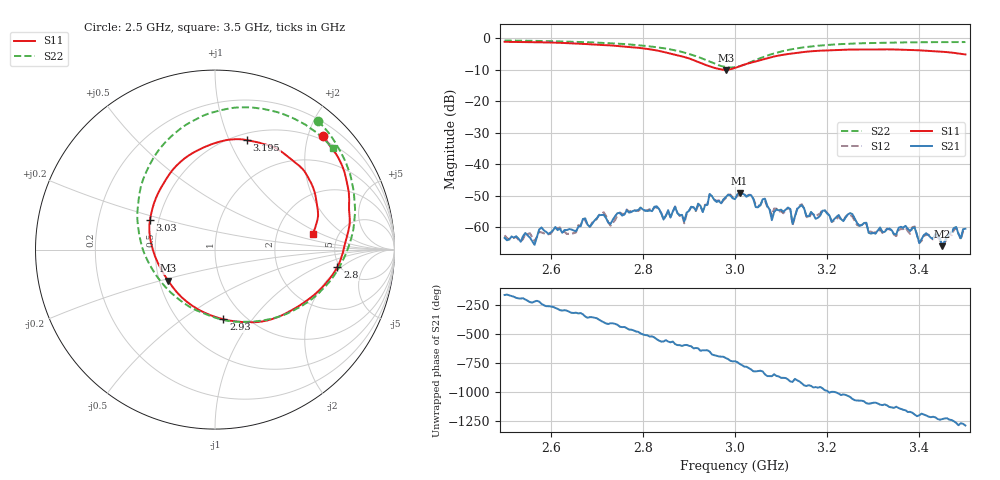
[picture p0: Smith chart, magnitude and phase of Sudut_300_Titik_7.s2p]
# Hz S RI R 50
! CMT, C1220, 16058040, 17.2.0/1
! Date: 15/08/2018 10:11:17
! Data: Format (Calibration Info)
! Freq  S11: Re/Im (F2)  S21: Re/Im (F2)  S12: Re/Im (F2)  S22: Re/Im (F2)
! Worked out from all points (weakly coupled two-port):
!   201 points, 2.5 GHz to 3.5 GHz, reference 50 ohm
!   highest |S21| = -49.10 dB at 3.01 GHz (marker M1); lowest = -66.0 dB at 3.45 GHz (marker M2)
!   lowest |S11| = -10.1 dB at 2.98 GHz (marker M3), VSWR 1.91, Z = 27.8 - j10.7 ohm
!   |S11| at or under -10 dB: 2.972961 GHz to 2.985614 GHz (12.65 MHz wide, 0.425 % of centre)
!   |S22| runs from -9.3 to -0.7 dB; largest |S21 - S12| = 0.00028
!   S11 on the Smith chart (normalised r, x): 2.5 GHz: 0.42, +2.25; 2.8 GHz: 4.75, -1.75; 2.93 GHz: 0.80, -0.73; 3.03 GHz: 0.45, +0.18; 3.195 GHz: 0.57, +1.16; 3.5 GHz: 3.24, +0.79
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2.5e9  0.5996 0.6352  -0.000643 -0.000209  -0.000666 -0.000331  0.5732 0.7169
2.565e9  0.6676 0.542  -0.000413 0.000325  -0.000408 0.00045  0.646 0.6335
2.58e9  0.6848 0.5157  -0.000525 0.000841  -0.000394 0.000728  0.6618 0.61
2.67e9  0.7456 0.3177  0.00116 0.000694  0.00118 0.000646  0.7447 0.4431
2.8e9  0.6817 -0.0967  -0.00151 -0.00117  -0.00145 -0.00118  0.7583 0.0609
2.835e9  0.5871 -0.2205  -0.00189 0.000526  -0.00186 0.000464  0.7048 -0.0758
2.87e9  0.4245 -0.339  -0.00148 0.0015  -0.0015 0.00152  0.5996 -0.22
2.89e9  0.3198 -0.3866  -0.000726 0.00101  -0.000646 0.000955  0.5101 -0.2965
2.905e9  0.2241 -0.4045  -0.000912 0.0019  -0.000926 0.00189  0.4249 -0.3457
2.93e9  0.0469 -0.3881  0.000259 0.00172  0.000152 0.00177  0.2544 -0.3965
2.945e9  -0.0586 -0.3516  0.00116 0.00315  0.00111 0.00317  0.1376 -0.4022
2.98e9  -0.2612 -0.1731  0.00291 0.000739  0.00279 0.000817  -0.1412 -0.319
3e9  -0.3346 -0.0359  0.00271 -0.000663  0.00269 -0.000826  -0.2766 -0.2083
3.01e9  -0.355 0.033  0.00285 -0.00205  0.00273 -0.00183  -0.3311 -0.1393
3.03e9  -0.3622 0.1668  0.000944 -0.0031  0.000949 -0.00313  -0.406 0.0127
3.065e9  -0.2848 0.3718  -0.00168 -0.00229  -0.00161 -0.00211  -0.4245 0.2847
3.08e9  -0.2377 0.4418  -0.00103 -0.000788  -0.00118 -0.000976  -0.4014 0.3886
3.17e9  0.0981 0.6143  -0.000803 0.00138  -0.000906 0.00134  -0.0781 0.7402
3.195e9  0.1781 0.6098  -0.0002 0.00184  -0.000145 0.00185  0.0148 0.7719
3.335e9  0.4937 0.4422  0.00064 -0.000712  0.000629 -0.000674  0.4089 0.7436
3.45e9  0.5742 0.1977  -0.000443 -0.000234  -0.000463 -0.000252  0.5991 0.6231
3.5e9  0.5437 0.0851  -0.00084 0.000438  -0.000755 0.00045  0.6569 0.5641
